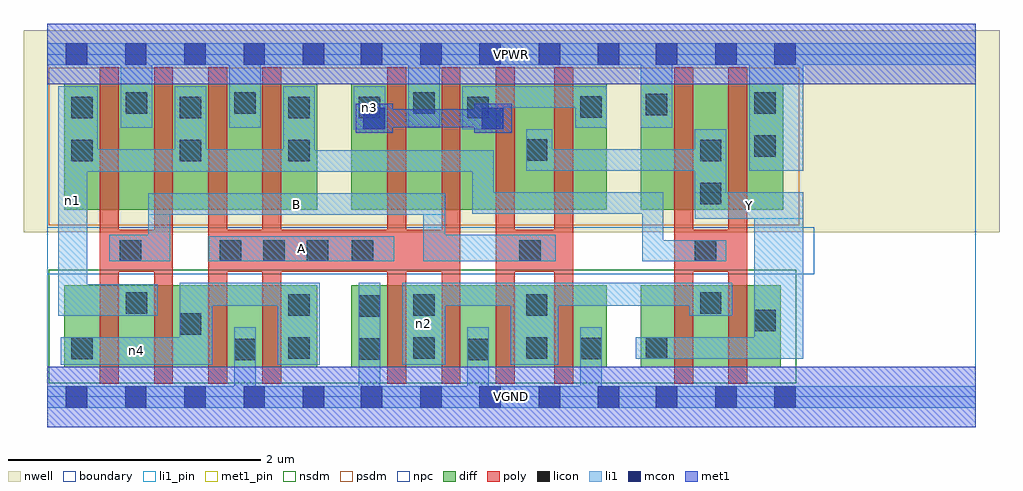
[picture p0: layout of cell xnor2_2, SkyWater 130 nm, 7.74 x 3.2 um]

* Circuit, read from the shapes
.subckt xnor2_2 A B VGND VPWR Y n1 n2 n3 n4
XM1 n1 B n4 VSUBS sky130_fd_pr__nfet_01v8 w=0.65 l=0.15 m=2
XM2 VGND A n4 VSUBS sky130_fd_pr__nfet_01v8 w=0.65 l=0.15 m=2
XM3 n2 A VGND VSUBS sky130_fd_pr__nfet_01v8 w=0.65 l=0.15 m=2
XM4 n2 B VGND VSUBS sky130_fd_pr__nfet_01v8 w=0.65 l=0.15 m=2
XM5 n2 n1 Y VSUBS sky130_fd_pr__nfet_01v8 w=0.65 l=0.15 m=2
XM6 VPWR B n1 n5 sky130_fd_pr__pfet_01v8 w=1 l=0.15 m=2
XM7 VPWR A n1 n5 sky130_fd_pr__pfet_01v8 w=1 l=0.15 m=2
XM8 VPWR A n3 n5 sky130_fd_pr__pfet_01v8 w=1 l=0.15 m=2
XM9 Y B n3 n5 sky130_fd_pr__pfet_01v8 w=1 l=0.15 m=2
XM10 Y n1 VPWR n5 sky130_fd_pr__pfet_01v8 w=1 l=0.15 m=2
.ends

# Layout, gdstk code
import gdstk
lib = gdstk.Library(unit=1e-6, precision=1e-09)
def R(c, l, rs):  # rectangles x0, y0, x1, y1
    for r in rs: c.add(gdstk.rectangle(r[:2], r[2:], *l))
def A(c, l, x, y, w, h, nx, ny, dx, dy):  # array of equal rectangles
    R(c, l, [(x+i*dx, y+j*dy, x+i*dx+w, y+j*dy+h) for i in range(nx) for j in range(ny)])
nwell = (64, 20)
diff = (65, 20)
poly = (66, 20)
licon = (66, 44)
li1_pin = (67, 16)
li1 = (67, 20)
mcon = (67, 44)
met1_pin = (68, 16)
met1 = (68, 20)
nsdm = (93, 44)
psdm = (94, 20)
npc = (95, 20)
boundary = (235, 4)

xnor2_2 = lib.new_cell('xnor2_2')
R(xnor2_2, nwell, [(-0.19,1.305,7.55,2.91), (0,1.305,7.36,2.91)])
R(xnor2_2, diff, [(0.135,0.235,2.14,0.885), (2.41,0.235,4.435,0.885), (4.705,0.235,5.815,0.885), (0.135,1.485,2.14,2.485), (2.41,1.485,4.435,2.485), (4.705,1.485,5.835,2.485)])
A(xnor2_2, poly, 0.415, 0.105, 0.15, 2.51, 4, 1, 0.43, 0)
A(xnor2_2, poly, 2.695, 0.105, 0.15, 2.51, 3, 1, 0.43, 0)
R(xnor2_2, poly, [(4.02,0.105,4.17,2.615), (4.97,0.105,5.12,2.615), (5.4,0.105,5.55,2.615), (0.415,0.995,0.995,1.325), (1.275,0.995,3.275,1.325), (3.555,0.995,4.17,1.325), (4.97,0.995,5.55,1.325)])
A(xnor2_2, licon, 1.365, 1.075, 0.17, 0.17, 3, 1, 0.345, 0)
A(xnor2_2, licon, 0.19, 1.87, 0.17, 0.17, 3, 2, 0.86, 0.34)
R(xnor2_2, licon, [(1.48,0.29,1.65,0.46), (3.33,0.29,3.5,0.46), (2.47,0.295,2.64,0.465), (0.19,0.3,0.36,0.47), (4.225,0.3,4.395,0.47), (1.91,0.305,2.08,0.475), (2.9,0.305,3.07,0.475), (3.795,0.305,3.965,0.475), (4.745,0.305,4.915,0.475), (1.05,0.495,1.22,0.665), (5.605,0.52,5.775,0.69), (2.47,0.635,2.64,0.805), (1.91,0.645,2.08,0.815), (2.9,0.645,3.07,0.815), (3.795,0.645,3.965,0.815), (0.62,0.66,0.79,0.83), (5.175,0.66,5.345,0.83), (0.575,1.075,0.745,1.245), (2.415,1.075,2.585,1.245), (3.74,1.075,3.91,1.245), (5.135,1.075,5.305,1.245), (5.175,1.53,5.345,1.7), (5.175,1.87,5.345,2.04), (3.795,1.875,3.965,2.045), (5.605,1.905,5.775,2.075), (2.47,2.21,2.64,2.38), (3.33,2.21,3.5,2.38), (4.225,2.215,4.395,2.385), (4.745,2.235,4.915,2.405), (0.62,2.245,0.79,2.415), (1.48,2.245,1.65,2.415), (2.9,2.245,3.07,2.415), (5.605,2.245,5.775,2.415)])
R(xnor2_2, li1_pin, [(1.28,1.075,2.75,1.275), (5.135,1.415,5.995,1.625), (0.8,1.445,3.155,1.615)])
R(xnor2_2, li1, [(0,-0.085,7.36,0.085), (1.48,-0.085,1.65,0.555), (2.47,-0.085,2.64,0.905), (3.33,-0.085,3.5,0.555), (4.225,-0.085,4.395,0.555), (0.105,0.255,1.305,0.475), (1.05,0.255,1.305,0.905), (1.825,0.255,2.16,0.905), (2.815,0.255,3.155,0.905), (3.675,0.255,4.05,0.905), (4.665,0.305,5.995,0.475), (5.605,0.305,5.995,1.625), (0.085,0.645,0.315,2.465), (0.085,0.645,0.875,0.895), (5.09,0.645,5.43,0.905), (1.05,0.725,2.16,0.905), (2.815,0.725,5.43,0.905), (0.49,1.075,0.975,1.285), (0.8,1.075,0.975,1.615), (1.28,1.075,2.75,1.275), (2.98,1.075,3.155,1.615), (2.98,1.075,4.03,1.285), (4.715,1.075,5.385,1.245), (4.715,1.075,4.885,1.625), (5.135,1.415,5.385,2.125), (5.135,1.415,5.995,1.625), (0.8,1.445,3.155,1.615), (3.37,1.455,4.885,1.625), (3.37,1.455,3.54,1.955), (0.085,1.785,3.54,1.955), (0.085,1.785,0.4,2.465), (0.085,1.785,2.12,1.965), (1.01,1.785,1.26,2.465), (1.87,1.785,2.12,2.465), (3.795,1.795,5.385,1.965), (3.795,1.795,4.005,2.125), (5.565,1.795,5.995,2.805), (2.43,2.125,2.68,2.465), (3.29,2.125,3.62,2.465), (0.58,2.135,0.83,2.805), (1.44,2.135,1.69,2.805), (2.86,2.135,3.11,2.805), (4.185,2.135,4.435,2.465), (4.705,2.135,4.955,2.805), (3.29,2.295,4.435,2.465), (0,2.635,7.36,2.805)])
A(xnor2_2, mcon, 0.145, -0.085, 0.17, 0.17, 5, 2, 0.47, 2.72)
A(xnor2_2, mcon, 2.485, -0.085, 0.17, 0.17, 5, 2, 0.47, 2.72)
A(xnor2_2, mcon, 4.825, -0.085, 0.17, 0.17, 3, 2, 0.47, 2.72)
R(xnor2_2, mcon, [(2.505,2.125,2.675,2.295), (3.445,2.125,3.615,2.295)])
R(xnor2_2, met1_pin, [(0,-0.24,7.36,0.24), (0,2.48,7.36,2.96)])
R(xnor2_2, met1, [(0,-0.24,7.36,0.24), (2.445,2.095,2.74,2.325), (3.385,2.095,3.68,2.325), (2.445,2.14,3.68,2.28), (0,2.48,7.36,2.96)])
R(xnor2_2, nsdm, [(0.01,0.11,5.94,1.01)])
R(xnor2_2, psdm, [(0.01,1.36,5.96,2.61)])
R(xnor2_2, npc, [(0,0.975,6.08,1.345)])
R(xnor2_2, boundary, [(0,0,7.36,2.72)])
xnor2_2.add(gdstk.Label('A', (2.015,1.175), layer=67, texttype=5))
xnor2_2.add(gdstk.Label('B', (1.977,1.53), layer=67, texttype=5))
xnor2_2.add(gdstk.Label('Y', (5.565,1.52), layer=67, texttype=5))
xnor2_2.add(gdstk.Label('n4', (0.705,0.365), layer=67, texttype=5))
xnor2_2.add(gdstk.Label('n2', (2.985,0.58), layer=67, texttype=5))
xnor2_2.add(gdstk.Label('n1', (0.2,1.555), layer=67, texttype=5))
xnor2_2.add(gdstk.Label('n3', (2.555,2.295), layer=67, texttype=5))
xnor2_2.add(gdstk.Label('VPWR', (3.68,2.72), layer=68, texttype=5))
xnor2_2.add(gdstk.Label('VGND', (3.68,0), layer=68, texttype=5))
xnor2_2.add(gdstk.Label('A', (2.015,1.175), layer=67, texttype=16))
xnor2_2.add(gdstk.Label('B', (1.977,1.53), layer=67, texttype=16))
xnor2_2.add(gdstk.Label('Y', (5.565,1.52), layer=67, texttype=16))
xnor2_2.add(gdstk.Label('VPWR', (3.68,2.72), layer=68, texttype=16))
xnor2_2.add(gdstk.Label('VGND', (3.68,0), layer=68, texttype=16))

lib.write_gds('xnor2_2.gds')
